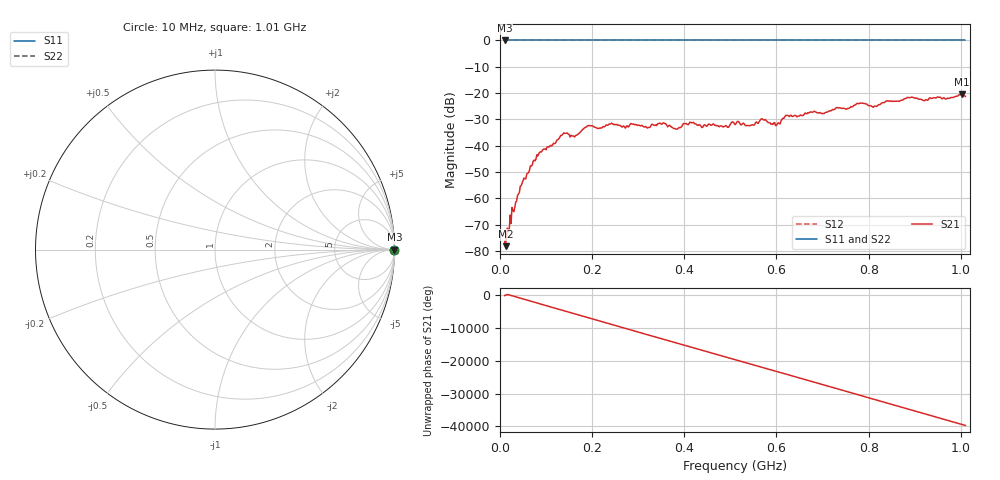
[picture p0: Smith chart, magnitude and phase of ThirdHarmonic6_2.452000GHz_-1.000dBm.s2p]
! 8/17/2025 4:23:24 AM
! C:\ANRITSUVNA\TEMP\TEMP.S2P
! CHANNEL.1
! TR.MEASUREMENT
! RAW.DATA
! RF.CORRECTION.OFF
! AVERAGING.OFF
! IF.BANDWIDTH: 5KHZ
! SWEEPTYPE:  FREQ.SWEEP(Linear)
! Reference Plane Port Info
! PORT:  PORT1  PORT2
! DISTANCE:  0  m  0  m
! TIME:  0  s  0  s
! PHASE.OFFSET:  0  deg.  0  deg.
! LOSS:  0  dB  0  dB
! REF.LOSS:  0  dB  0  dB
! REF.FREQ:  0  Hz  0  Hz
! Power Info
! POWER:  -20  dBm  -20  dBm
! EFF.POWER:  -20  dBm  -20  dBm
! SOURCE.ATTEN:  0  dB  0  dB
! TEST.ATTEN:  0  dB  0  dB
# GHZ S RI R 50.0
! FREQ.GHZ  S11RE  S11IM  S21RE  S21IM  S12RE  S12IM  S22RE  S22IM
!; PortSelection: Port_12
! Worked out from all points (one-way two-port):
!   501 points, 10 MHz to 1.01 GHz, reference 50 ohm
!   highest |S21| = -20.49 dB at 1.002 GHz (marker M1); lowest = -78.1 dB at 12 MHz (marker M2)
!   lowest |S11| = 0.0 dB at 10 MHz (marker M3)
!   |S11| at or under -10 dB: nowhere
!   |S22| runs from 0.0 to 0.0 dB; largest |S21 - S12| = 1.1
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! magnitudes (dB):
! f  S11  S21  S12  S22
! 10 MHz  0.0  -76.1  0.0  0.0
! 12 MHz  0.0  -78.1  0.0  0.0
! 48 MHz  0.0  -54.2  0.0  0.0
! 84 MHz  0.0  -43.1  0.0  0.0
! 136 MHz  0.0  -35.7  0.0  0.0
! 162 MHz  0.0  -36.6  0.0  0.0
! 178 MHz  0.0  -34.0  0.0  0.0
! 240 MHz  0.0  -31.7  0.0  0.0
! 322 MHz  0.0  -33.0  0.0  0.0
! 344 MHz  0.0  -31.6  0.0  0.0
! 382 MHz  0.0  -33.7  0.0  0.0
! 416 MHz  0.0  -31.3  0.0  0.0
! 438 MHz  0.0  -33.1  0.0  0.0
! 510 MHz  0.0  -32.0  0.0  0.0
! 546 MHz  0.0  -32.1  0.0  0.0
! 570 MHz  0.0  -29.9  0.0  0.0
! 602 MHz  0.0  -31.6  0.0  0.0
! 622 MHz  0.0  -28.5  0.0  0.0
! 678 MHz  0.0  -27.3  0.0  0.0
! 844 MHz  0.0  -23.1  0.0  0.0
! 1.002 GHz  0.0  -20.5  0.0  0.0
! 1.01 GHz  0.0  -21.3  0.0  0.0
